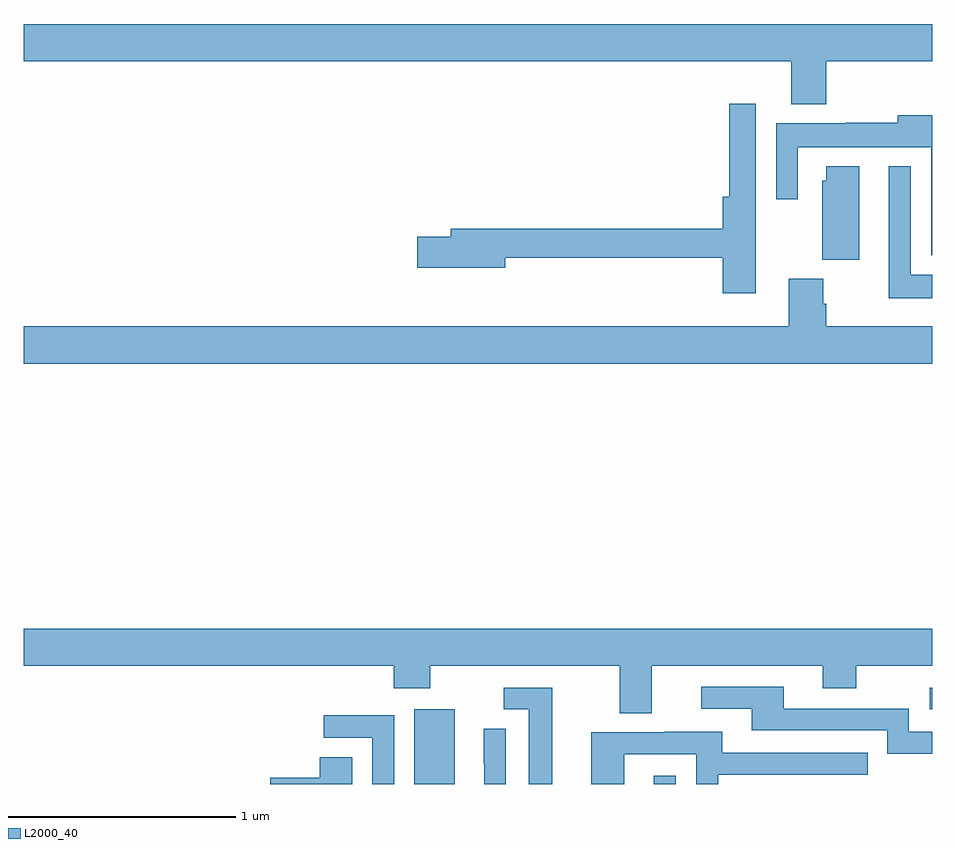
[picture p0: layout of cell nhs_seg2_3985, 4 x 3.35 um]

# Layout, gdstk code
import gdstk
lib = gdstk.Library(unit=1e-6, precision=1e-09)
def R(c, l, rs):  # rectangles x0, y0, x1, y1
    for r in rs: c.add(gdstk.rectangle(r[:2], r[2:], *l))
def P(c, l, *ps):  # polygons
    for p in ps: c.add(gdstk.Polygon(p, *l))
L2000_40 = (2000, 40)

nhs_seg2_3985 = lib.new_cell('nhs_seg2_3985')
R(nhs_seg2_3985, L2000_40, [(324.719,629.8,324.898,630.13), (325.775,629.8,325.872,629.836), (326.991,630.129,327,630.225)])
P(nhs_seg2_3985, L2000_40, [(326.534,632.984),(327,632.984),(327,633.148),(323,633.148),(323,632.984),(326.381,632.984),(326.381,632.795),(326.534,632.795)],
  [(326.224,632.223),(326.223,632.223),(326.223,632.797),(326.107,632.797),(326.107,632.386),(326.078,632.386),(326.078,632.246),(324.881,632.246),(324.881,632.21),(324.732,632.21),(324.732,632.075),(325.12,632.075),(325.12,632.118),(326.078,632.118),(326.078,631.962),(326.224,631.962)],
  [(327,632.746),(326.849,632.746),(326.849,632.713),(326.617,632.713),(326.617,632.71),(326.313,632.71),(326.313,632.376),(326.409,632.376),(326.409,632.606),(326.997,632.606),(326.997,632.129),(327,632.129)],
  [(326.68,632.521),(326.534,632.521),(326.534,632.457),(326.516,632.457),(326.516,632.11),(326.68,632.11)],
  [(327,632.044),(326.907,632.044),(326.907,632.521),(326.81,632.521),(326.81,631.94),(327,631.94)],
  [(327,631.816),(326.534,631.816),(326.534,631.916),(326.521,631.916),(326.521,632.025),(326.369,632.025),(326.369,631.816),(323,631.816),(323,631.652),(327,631.652)],
  [(325.765,630.32),(326.519,630.32),(326.519,630.221),(326.667,630.221),(326.667,630.32),(327,630.32),(327,630.484),(323,630.484),(323,630.32),(324.629,630.32),(324.629,630.221),(324.789,630.221),(324.789,630.32),(325.625,630.32),(325.625,630.112),(325.765,630.112)],
  [(327,630.03),(326.898,630.03),(326.898,630.132),(326.347,630.132),(326.347,630.228),(325.983,630.228),(325.983,630.132),(326.207,630.132),(326.207,630.036),(326.802,630.036),(326.802,629.933),(327,629.933)],
  [(325.327,630.225),(325.113,630.225),(325.113,630.129),(325.223,630.129),(325.223,629.8),(325.327,629.8)],
  [(324.63,630.102),(324.321,630.102),(324.321,630.003),(324.534,630.003),(324.534,629.8),(324.63,629.8)],
  [(325.122,630.044),(325.026,630.044),(325.026,629.89),(325.028,629.89),(325.028,629.8),(325.122,629.8)],
  [(325.644,629.931),(325.962,629.931),(325.962,629.8),(326.058,629.8),(326.058,629.841),(326.717,629.841),(326.717,629.937),(326.077,629.937),(326.077,630.031),(325.823,630.031),(325.823,630.027),(325.499,630.027),(325.499,629.8),(325.644,629.8)],
  [(324.445,629.918),(324.302,629.918),(324.302,629.828),(324.084,629.828),(324.084,629.8),(324.445,629.8)])

lib.write_gds('nhs_seg2_3985.gds')
